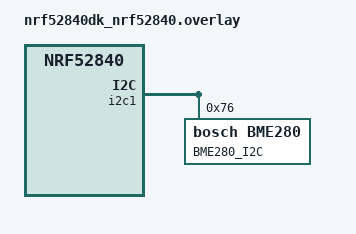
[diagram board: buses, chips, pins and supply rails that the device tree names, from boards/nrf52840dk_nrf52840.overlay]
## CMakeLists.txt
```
cmake_minimum_required(VERSION 3.20.0)

find_package(Zephyr REQUIRED HINTS $ENV{ZEPHYR_BASE})
project(zbus_observer_test)

target_sources(app PRIVATE src/main.c)
```

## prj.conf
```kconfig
#Minimal config need ..!

CONFIG_ZBUS=y
CONFIG_ZBUS_CHANNEL_NAME=y
CONFIG_ZBUS_OBSERVER_NAME=y

# HLP: boost publisher to highest-priority observer during VDED
# Without this: publisher at prio=5 can be preempted mid-VDED by
# msg_sub at prio=3. With this: publisher is temporarily raised to
# prio < 3, runs VDED atomically, then restored to prio=5.
CONFIG_ZBUS_PRIORITY_BOOST=y

# Enable msg subscriber (uses net_buf FIFO) and async listener (workqueue)
CONFIG_ZBUS_MSG_SUBSCRIBER=y
CONFIG_ZBUS_ASYNC_LISTENER=y

#Memory for msg subscribers

#it depends with static allocation.
CONFIG_ZBUS_MSG_SUBSCRIBER_BUF_ALLOC_STATIC=y

# net_buf pool for msg subscriber copies
# VDED copies the channel message into a net_buf and enqueues it to
# each MSG_SUBSCRIBER's FIFO. Static allocation avoids heap fragmentation.
CONFIG_ZBUS_MSG_SUBSCRIBER_NET_BUF_POOL_SIZE=8
CONFIG_ZBUS_MSG_SUBSCRIBER_NET_BUF_STATIC_DATA_SIZE=32
CONFIG_HEAP_MEM_POOL_ADD_SIZE_ZBUS=512

CONFIG_LOG=y

CONFIG_MAIN_STACK_SIZE=2048
CONFIG_SYSTEM_WORKQUEUE_STACK_SIZE=2048

#BME280, sensor minimal
CONFIG_I2C=y
CONFIG_SENSOR=y
CONFIG_BME280_MODE_NORMAL=y
```

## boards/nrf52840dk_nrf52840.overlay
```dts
&i2c1 {
	status = "okay";

	bme280@76 {
		status = "okay";
		compatible = "bosch,bme280";
		reg = <0x76>;
		label = "BME280_I2C";
	};
};
```

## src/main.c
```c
/*
* File: main.c
*
* Description: Sample application to test all type of observer and how flow work between channel
*  		and observation. Controlling method of the Channel and observer.
*  		HLP protocol test and HOP calculation how is it working.!
*  		zbus Observer Types + HLP (Priority Boost) with real BME280 sensor.
*
* --> Listener         --> synchronous callback in publisher context
* --> Async Listener   --> deferred callback in work queue (net buf for the poll message to notify)
* --> Msg Subscriber   --> full message copy via FIFO
* --> Subscriber       --> channel reference only, must read()
* --> HLP Priority Boost --> publisher boosted to highest observer priorty
*
* Copyright (c) 2026 Aerlync Lab
* SPDX-License-Identifier: Apache-2.0
*
*/

#include <zephyr/kernel.h>
#include <zephyr/zbus/zbus.h>
#include <zephyr/drivers/sensor.h>
#include <zephyr/device.h>
#include <zephyr/devicetree.h>
#include <zephyr/logging/log.h>

#define THREAD_STACK_SIZE   1024
#define PUBLISHER_PRI 5
#define MS_PRI        3
#define S_PRI         4
#define S_THREAD_PRI  6
#define AS_PRI        -1

LOG_MODULE_DECLARE(zbus, CONFIG_ZBUS_LOG_LEVEL);
/*
 * @brief message which publisher will publish into the channel
 *
 * @param timestamp_ms time@publish
 * @param sequence tracking the sequence
 * @param temp/hum two variable to transfer to test.!
 * @param valid to check data is trust.
 */
struct sensor_msg {
	int32_t tempt;
	int32_t humty;
	int32_t ph;
	uint32_t sequence;
	uint64_t timestamp_ms;
	bool valid;
};

/*
 * Comman user data act as Meta-data over the channel for the observer
 *
 * @brief Channel-level statistics accessible to all observers via
 * zbus_chan_user_data(chan).
 */
struct sensor_chan_meta {
	uint32_t total_published;
	uint32_t sensor_errors;
	uint32_t validator_rejects;
	int64_t  last_publish_ms;
};

static struct sensor_chan_meta chan_meta;
static const struct device *const bme280_dev = DEVICE_DT_GET_ANY(bosch_bme280);

/*
 * Validator function to publish the message into the channel
 *
 * @brief Validate sensor_msg before it is committed to sensor_chan
 *
 * Called by zbus_chan_pub() while the channel mutex is held, before VDED.
 * Return false to abort the publish entirely — no observer is notified and
 * the channel buffer is NOT updated.
 *
 * @return true if message is safe to publish, false to reject.
 */
static bool sensor_msg_validator(const void *msg, size_t msg_size)
{
	ARG_UNUSED(msg_size);
	const struct sensor_msg *m = msg;

	if (m->valid != true) {
		return 0;
	}

	if (m->tempt < -4000 || m->tempt > 8500) {
		LOG_WRN("VALIDATOR: temperature %d.%02d out of BME280 range!", m->tempt / 100,
				m->tempt % 100);
		return false;
	}
	if (m->humty < 0 || m->humty > 10000) {
		LOG_WRN("VALIDATOR: humidity %d.%02d out of range!", m->humty / 100,
				m->humty % 100);
		return false;
	}

	return true;
}
/*
 * @brief
 * Channel create and struct section will handle the observer list
 *
 * arguments:
 *  name       = sensor_chan
 *  msg_type   = struct sensor_msg
 *  validator  = sensor_msg_validator
 *  user_data  = &chan_meta
 *  observers  = ordered list
 *  init       = msg_init zero value.
 */
ZBUS_CHAN_DEFINE(sensor_chan, struct sensor_msg, sensor_msg_validator, &chan_meta,
		ZBUS_OBSERVERS(sensor_listener, sensor_async, sensor_msgsub, sensor_sub),
		ZBUS_MSG_INIT(.tempt = 0, .humty = 0, .sequence = 0, .timestamp_ms = 0,
			.ph = 0, .valid = false));

/*
 * listener --> synchronous callback.!
 *
 * @brief
 * Runs IN THE PUBLISHER'S THREAD during VDED while channel is locked.
 * Use zbus_chan_const_msg() — zero-copy, no memcpy.
 *
 * Direct message copy reference to the message in the channel.
 *
 * @note:
 *
 * DO NOT call zbus_chan_pub/read/claim here (deadlock — channel locked).
 * Channel is LOCKED when this runs — use zbus_chan_const_msg() only.
 */

static void sensor_listener_cb(const struct zbus_channel *chan)
{
	const struct sensor_msg *msg = zbus_chan_const_msg(chan);
	const struct sensor_chan_meta *meta = zbus_chan_user_data(chan);
	int prio_now = k_thread_priority_get(k_current_get());

	if (msg->valid != true) {
		LOG_WRN("[LISTENER] seq=%u — SENSOR ERROR (valid=false)", msg->sequence);
		return;
	}

#ifdef CONFIG_ZBUS_PRIORITY_BOOST
	/* With HLP correctly configured, prio_now should be PRIO_MSG_SUB=3 */
	bool boosted = (prio_now < MS_PRI);
	LOG_INF("[LISTENER] seq=%u | temp=%d.%02d°C | hum=%d.%02d%% | prio_VDED=%d | HLP:%s |"
			"total_pub=%u", msg->sequence, msg->tempt / 100, abs(msg->tempt % 100),
			msg->humty / 100, msg->humty % 100, prio_now,
			boosted ? "BOOSTED" : "NOT BOOSTED", meta->total_published);
#else
	LOG_INF("[LISTENER] seq=%u | temp=%d.%02d°C | hum=%d.%02d%% | prio_VDED=%d | HLP:DISABLED",
			msg->sequence, msg->tempt / 100, abs(msg->tempt % 100),
			msg->humty / 100, msg->humty % 100, prio_now);
#endif
}

ZBUS_LISTENER_DEFINE(sensor_listener, sensor_listener_cb);

/* Aysn listener -->  Work Queue Callback
 *
 * @brief
 *
 * VDED submits a work item to the system workqueue.
 * Runs AFTER VDED completes (channel is already unlocked).
 * Receives a COPY of the message as second parameter.
 * System workqueue priority = -1 (cooperative, higher than everything)
 */
static void sensor_async_cb(const struct zbus_channel *chan, const void *msg_copy)
{
	ARG_UNUSED(chan);
	const struct sensor_msg *msg = msg_copy;

	if (msg->valid != true) {
		LOG_WRN("[ASYNC] seq=%u sensor read failed — skipping", msg->sequence);
		return;
	}

	if (msg->tempt > 3500) {
		LOG_WRN("[ASYNC] HIGH TEMP ALERT: %d.%02d°C at seq=%u ts=%llu ms",
				msg->tempt / 100, msg->tempt % 100, msg->sequence,
				msg->timestamp_ms);
		return;
	}

	LOG_INF("[ASYNC] seq=%u temp=%d.%02d°C hum=%d.%02d%% | workqueue ctx", msg->sequence,
			msg->tempt / 100, abs(msg->tempt % 100), msg->humty / 100,
			msg->humty % 100);
}

ZBUS_ASYNC_LISTENER_DEFINE(sensor_async, sensor_async_cb);

/*
 * message subscriber — full message copy via net_buf FIFO
 *
 * @brief
 *
 * Priority = 3  (HIGHER than publisher at 5)
 * This is why HLP is needed: without the boost, msg_sub_thread would
 * preempt the publisher mid-VDED as soon as VDED enqueues the net_buf.
 *
 * With HLP:
 *   - publisher boosted to 3 before VDED starts
 *   - runs all VDED steps without preemption
 *   - restored to 5 after zbus_chan_pub() returns
 *   - THEN msg_sub_thread wakes and processes its copy safely
 *
 * @note:
 * Never misses messages — each publish enqueues a separate net_buf copy.
 * Receives FULL MESSAGE COPY via FIFO — never loses data.
 */

ZBUS_MSG_SUBSCRIBER_DEFINE(sensor_msgsub);

static void msg_sub_thread_fn(void *p1, void *p2, void *p3)
{
	ARG_UNUSED(p1);
	ARG_UNUSED(p2);
	ARG_UNUSED(p3);

	const struct zbus_channel *chan;
	struct sensor_msg local_msg;

	LOG_INF("[MSG_SUB] started | prio=%d (higher than publisher=5, HLP needed)",
			k_thread_priority_get(k_current_get()));

#ifdef CONFIG_ZBUS_PRIORITY_BOOST
	zbus_obs_attach_to_thread(&sensor_msgsub);
	LOG_DBG("[MSG_SUB] attached to HLP — publisher will be boosted to prio=%d",
			MS_PRI - 1);
#endif
	while (1) {

		/*
		 * Here zbus use net_buf to copy the message into the Message subscriber.
		 * Blocks here. CPU can idle.
		 * Wakes with complete message copy in local_msg.
		 * eg:
		 * Even if publisher fires 3 times quickly, all 3 copies
		 * are queued — none are lost.
		 */

		/* wait to get notiify and messsage.!)*/
		int ret = zbus_sub_wait_msg(&sensor_msgsub, &chan, &local_msg, K_FOREVER);
		if (ret != 0) {
			LOG_ERR("msg_sub wait error: %d", ret);
			continue;
		}

		/* check from which channel got notification*/
		if (chan != &sensor_chan) {
			continue;
		}

		if (local_msg.valid != true) {
			LOG_WRN("[MSG_SUB] seq=%u — received invalid reading", local_msg.sequence);
			continue;
		}

		LOG_INF("[MSG_SUB] seq=%u | temp=%d.%02d°C | hum=%d.%02d%% | ph=%d.%02d hPa |"
				"ts=%llu ms | full-copy, never lost", local_msg.sequence,
				local_msg.tempt / 100, abs(local_msg.tempt % 100),
				local_msg.humty / 100, local_msg.humty % 100,
				local_msg.ph / 100, local_msg.ph % 100,
				local_msg.timestamp_ms);
	}
}


K_THREAD_DEFINE(msg_sub_tid, THREAD_STACK_SIZE, msg_sub_thread_fn, NULL, NULL, NULL, MS_PRI, 0, 0);

/*
 * subscriber -->  Channel Reference Thread
 *
 * @brief.
 * Gets only the channel reference  must call zbus_chan_read() explicitly.
 * Here now one publisher.
 *
 * attach_to_thread(): tells HLP about this observer's priority so.
 * it is included in the HOP (Highest Observer Priority) calculation.
 *
 * @note: if publisher publishes twice before this thread wakes and reads,
 * it only sees the LATEST value (not both). Unlike MSG_SUBSCRIBER which
 * keeps every copy.
 */

ZBUS_SUBSCRIBER_DEFINE(sensor_sub, S_PRI);

static void sub_thread_fn(void *p1, void *p2, void *p3)
{
	ARG_UNUSED(p1);
	ARG_UNUSED(p2);
	ARG_UNUSED(p3);

	const struct zbus_channel *chan;
	struct sensor_msg local_msg;

	LOG_INF("[SUB] started | prio=%d (lower than publisher, no preemption risk)",
			k_thread_priority_get(k_current_get()));

#ifdef CONFIG_ZBUS_PRIORITY_BOOST
	/*
	 * @note:
	 * Attach this observer to the current thread so HLP can see its priority. Without this,
	 * HLP ignores this subscriber when computing the Highest Observer Priority (HOP).
	 *
	 * Since sub_thread is prio=6 (lower than publisher prio=5), it doesn't actually
	 * change the HOP — msg_sub at prio=3 is still the highest. But attach is good practice.
	 */

	zbus_obs_attach_to_thread(&sensor_sub);
#endif

	while (1) {
		/* Blocks here. Wakes when VDED pushes channel ref to our queue. */
		int ret = zbus_sub_wait(&sensor_sub, &chan, K_FOREVER);
		if (ret != 0) {
			LOG_ERR("[SUB] wait error: %d", ret);
			continue;
		}

		if (chan != &sensor_chan) {
			continue;
		}

		/*
		 * Use K_MSEC(100) — channel may still be locked by VDED or another
		 * thread. K_NO_WAIT risks -EAGAIN if VDED hasn't unlocked yet.
		 */
		ret = zbus_chan_read(&sensor_chan, &local_msg, K_MSEC(100));
		if (ret != 0) {
			LOG_ERR("[SUB] read timeout! ret=%d", ret);
			continue;
		}

		if (local_msg.valid != true) {
			LOG_WRN("[SUB] seq=%u latest value is invalid", local_msg.sequence);
			continue;
		}

		LOG_INF("[SUB] seq=%u | temp=%d.%02d°C | hum=%d.%02d%% | latest-value semantics |"
				"prio=6", local_msg.sequence, local_msg.tempt / 100,
				abs(local_msg.tempt % 100), local_msg.humty / 100,
				local_msg.humty % 100);
	}
}

K_THREAD_DEFINE(sub_tid, 1024, sub_thread_fn, NULL, NULL, NULL, S_THREAD_PRI, 0, 0);

/*
 * @brief Read temperature, humidity and pressure from BME280.
 *
 * 1. sensor_sample_fetch() --> triggers I²C read, stores raw ADC in driver
 * 2. sensor_channel_get() -->  applies Bosch compensation formula, returns
 * 				a struct sensor_value {int32_t val1; int32_t val2} where val2 is
 * 				the fractional part in MILLIONTHS (10^-6).
 *
 * @param[out] msg  populated on success
 * @return 0 on success, -errno on sensor failure
 */
static int bme280_read(struct sensor_msg *msg)
{
	struct sensor_value temp_val, hum_val, ph_val;
	int ret;

	ret = sensor_sample_fetch(bme280_dev);
	if (ret != 0) {
		LOG_ERR("sensor_sample_fetch() failed: %d", ret);
		msg->valid = false;
		return ret;
	}

	ret = sensor_channel_get(bme280_dev, SENSOR_CHAN_AMBIENT_TEMP, &temp_val);
	if (ret != 0) {
		LOG_ERR("sensor_channel_get(TEMP) failed: %d", ret);
		msg->valid = false;
		return ret;
	}

	ret = sensor_channel_get(bme280_dev, SENSOR_CHAN_HUMIDITY, &hum_val);
	if (ret != 0) {
		LOG_ERR("sensor_channel_get(HUMIDITY) failed: %d", ret);
		msg->valid = false;
		return ret;
	}

	ret = sensor_channel_get(bme280_dev, SENSOR_CHAN_PRESS, &ph_val);
	if (ret != 0) {
		LOG_ERR("sensor_channel_get(PRESS) failed: %d", ret);
		msg->valid = false;
		return ret;
	}

	msg->tempt = (int32_t)(temp_val.val1  * 100 + temp_val.val2  / 10000);
	msg->humty = (int32_t)(hum_val.val1   * 100 + hum_val.val2   / 10000);
	msg->ph = (int32_t)(ph_val.val1 * 100 + ph_val.val2 / 10000);
	msg->valid = true;

	return 0;
}

/* publisher thread
 *
 * @brief Publisher thread — reads BME280 every 2 s, publishes to sensor_chan
 * zbus_chan_pub() will:
 *  1. Lock the channel mutex
 *  2. Copy msg into channel buffer
 *  3. If HLP: boost publisher to HOP (=3, from msg_sub)
 *  4. Run VDED: notify all observers in order
 *     - sensor_listener cb runs here (in our context)
 *     - sensor_async work item submitted to workqueue
 *     - sensor_msgsub net_buf copy enqueued
 *     - sensor_sub channel ref pushed to queue
 *  5. If HLP: restore publisher priority back to 5
 *  6. Unlock channel mutex
 */
static void publisher_thread_fn(void *p1, void *p2, void *p3)
{
	ARG_UNUSED(p1);
	ARG_UNUSED(p2);
	ARG_UNUSED(p3);

	struct sensor_msg msg = {0};
	uint32_t pub_count = 0;
	int ret, prio_before, prio_after;

	LOG_INF("[PUB] started | prio=%d | BME280 sensor: %s", PUBLISHER_PRI, bme280_dev->name);

	while (1) {
		pub_count++;
		msg.sequence     = pub_count;
		msg.timestamp_ms = k_uptime_get();

		ret = bme280_read(&msg);
		if (ret != 0) {
			LOG_WRN("[PUB] BME280 read failed (ret=%d), publishing invalid msg", ret);
			chan_meta.sensor_errors++;
		}

		LOG_INF("[PUB] seq=%u | temp=%d.%02d°C | hum=%d.%02d%% | ph=%d.%02d hPa | valid=%d",
				msg.sequence, msg.tempt / 100, abs(msg.tempt % 100), msg.humty / 100,
				msg.humty % 100, msg.ph / 100, msg.ph % 100, msg.valid);

		prio_before = k_thread_priority_get(k_current_get());
		LOG_INF("[PUBLISHER] prio BEFORE pub = %d (original priority)\n", prio_before);

		ret = zbus_chan_pub(&sensor_chan, &msg, K_FOREVER);
		if (ret == -EINVAL) {
			LOG_WRN("[PUB] validator rejected msg (seq=%u) — not published", msg.sequence);
			chan_meta.validator_rejects++;
		} else if (ret != 0) {
			LOG_ERR("[PUB] zbus_chan_pub failed: %d", ret);
		} else {
			chan_meta.total_published++;
			chan_meta.last_publish_ms = msg.timestamp_ms;
		}

		prio_after = k_thread_priority_get(k_current_get());

		LOG_INF("[PUBLISHER] prio AFTER  pub = %d (restored by HLP)\n", prio_after);

		/* Priority delta: should be 0 after HLP restores. Catch it here.
		 * @if prio_before - prio_after is 0
		 *
		 * @note: because HLP RESTORES the priority after pub. The boost was temporary,
		 * only visible DURING pub (inside the listener callback). That is why we print
		 * prio inside sensor_listener_cb above that is the only way
		 * to catch the boosted value.
		 */


		if (prio_before != prio_after) {
			LOG_ERR("[PUB] HLP RESTORE FAILED: before=%d after=%d", prio_before, prio_after);
		}

		k_sleep(K_MSEC(2000));
	}
}

K_THREAD_DEFINE(publisher_tid, 2048, publisher_thread_fn, NULL, NULL, NULL, PUBLISHER_PRI, 0, 0);

int main(void)
{
	LOG_INF("\n\t<<< zbus + BME280 on nRF52840DK >>>\n");

	if (bme280_dev == NULL) {
		LOG_ERR("No bosch,bme280 node found in devicetree!");
		return -ENODEV;
	}

	if (!device_is_ready(bme280_dev)) {
		LOG_ERR("BME280 device '%s' is NOT ready!", bme280_dev->name);
		return -ENODEV;
	}

	LOG_INF("BME280 device '%s' ready!", bme280_dev->name);
	LOG_INF("Priority map:");
	LOG_INF("  sys workqueue : %2d  (cooperative, runs async_listener)", AS_PRI);
	LOG_INF("  msg_sub thread: %2d  (higher than publisher — HLP needed)", MS_PRI);
	LOG_INF("  publisher     : %2d  (HLP boosts to 3 during VDED)", PUBLISHER_PRI);
	LOG_INF("  sub thread    : %2d  (lower than publisher, safe)", S_THREAD_PRI);
	LOG_INF("Channel: sensor_chan | validator: BME280 range check | user_data: &chan_meta");

	while (1) {
		/* Print channel statistics every 10 s from main */
		k_sleep(K_SECONDS(3));

		const struct sensor_chan_meta *meta = zbus_chan_user_data(&sensor_chan);

		LOG_INF("[MAIN] stats: published=%u errors=%u rejected=%u last_pub=%lld ms",
				meta->total_published, meta->sensor_errors, meta->validator_rejects,
				meta->last_publish_ms);
	}

	return 0;
}
```
